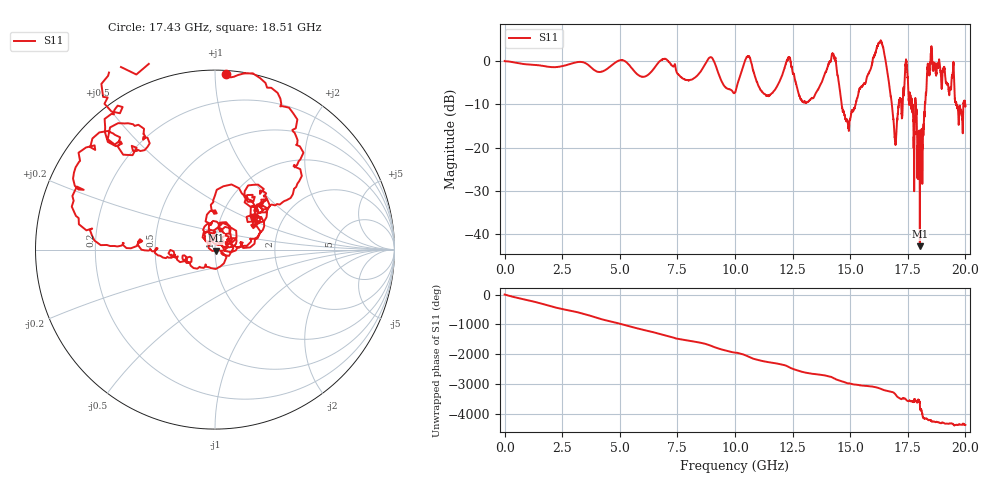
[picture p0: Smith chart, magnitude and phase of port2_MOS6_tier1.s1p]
! Created with skrf 1.8.0 (http://scikit-rf.org).
# GHz S RI R 50.0
!freq ReS11 ImS11
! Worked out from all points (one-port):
!   10001 points, 1 MHz to 20 GHz, reference 50 ohm
!   lowest |S11| = -42.7 dB at 18.02 GHz (marker M1), VSWR 1.01, Z = 50.4 - j0.597 ohm
!   |S11| at or under -10 dB: 14.63 GHz to 15.24 GHz (608 MHz wide, 4.07 % of centre); 17.85 GHz to 18.24 GHz (396.2 MHz wide, 2.2 % of centre); 19.61 GHz to 19.91 GHz (302 MHz wide, 1.53 % of centre) (the widest 3 of 11)
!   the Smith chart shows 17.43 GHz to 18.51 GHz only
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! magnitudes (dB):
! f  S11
! 1 MHz  0.0
! 2.501 GHz  -1.2
! 5.001 GHz  0.1
! 5.955 GHz  -3.6
! 7.501 GHz  -2.9
! 8.127 GHz  -4.3
! 8.959 GHz  0.9
! 10 GHz  -7.3
! 10.55 GHz  1.1
! 11.36 GHz  -8.0
! 12.3 GHz  0.4
! 12.5 GHz  -2.6
! 13.13 GHz  -9.5
! 14.28 GHz  1.4
! 14.72 GHz  -11.8
! 15 GHz  -13.4
! 16.27 GHz  4.1
! 16.52 GHz  0.6
! 16.95 GHz  -18.4
! 17.4 GHz  -1.1
! 17.5 GHz  -3.7
! 18.02 GHz  -42.7
! 18.11 GHz  -18.0
! 18.31 GHz  -6.6
! 18.46 GHz  -2.0
! 19.44 GHz  -3.2
! 19.79 GHz  -11.7
! 20 GHz  -10.5
